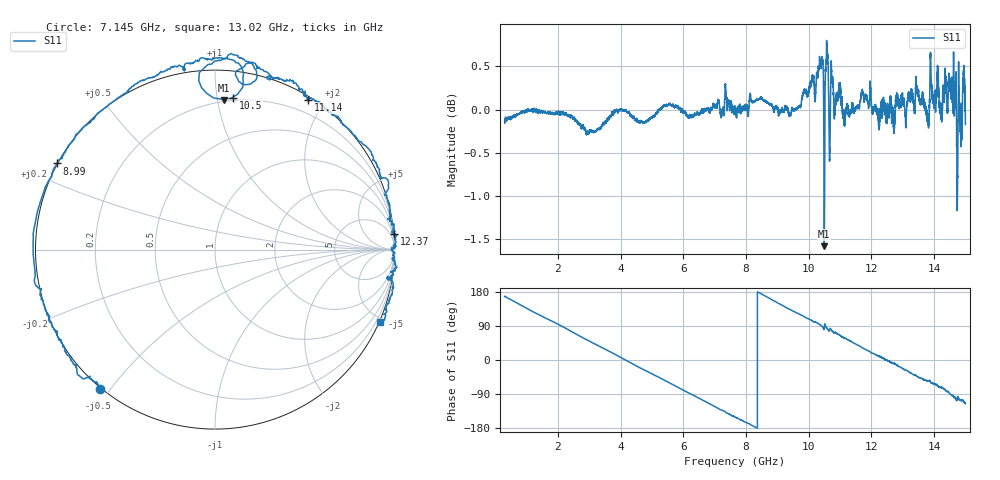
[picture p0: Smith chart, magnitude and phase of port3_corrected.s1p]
! Created with skrf 1.9.0 (http://scikit-rf.org).
# GHz S RI R 50.0
!freq ReS11 ImS11
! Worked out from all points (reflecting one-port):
!   12801 points, 300 MHz to 15 GHz, reference 50 ohm
!   lowest |S11| = -1.6 dB at 10.5 GHz (marker M1), VSWR 11.04, Z = 9.56 + j52.2 ohm
!   phase of S11 starts at 168 deg and turns -643 deg over the sweep
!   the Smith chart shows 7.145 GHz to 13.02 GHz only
!   S11 on the Smith chart (normalised r, x): 7.145 GHz: -0.01, -0.47; 8.99 GHz: -0.00, +0.26; 10.5 GHz: 0.18, +1.11; 11.14 GHz: 0.04, +1.80; 12.37 GHz: -1, +23; 13.02 GHz: -0.07, -4.78
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0.3  -0.9609 0.2044
0.7444453  -0.8432 0.5263
1.268133  -0.5672 0.8215
2.1375  0.0241 0.9943
3.074625  0.6685 0.706
3.975  0.9902 0.1408
4.91557  0.829 -0.5369
5.8125  0.3211 -0.9527
6.527977  -0.2057 -0.9735
7.144687  -0.6425 -0.7785
7.65  -0.8685 -0.4976
8.386148  -1.014 0.0157
8.990227  -0.8793 0.4802
9.4875  -0.6384 0.771
10.09617  -0.2577 1.008
10.49583  0.1001 0.8464
10.49927  0.0511 0.8323
11.14355  0.5174 0.834
11.325  0.638 0.7665
11.78323  0.8848 0.4982
12.36663  0.9999 0.0876
13.01665  0.922 -0.4031
13.1625  0.8854 -0.4962
13.4967  0.7231 -0.7231
13.90324  0.5201 -0.9144
14.34309  0.2287 -1.027
14.66006  -0.1435 -0.9936
15  -0.4125 -0.8895
